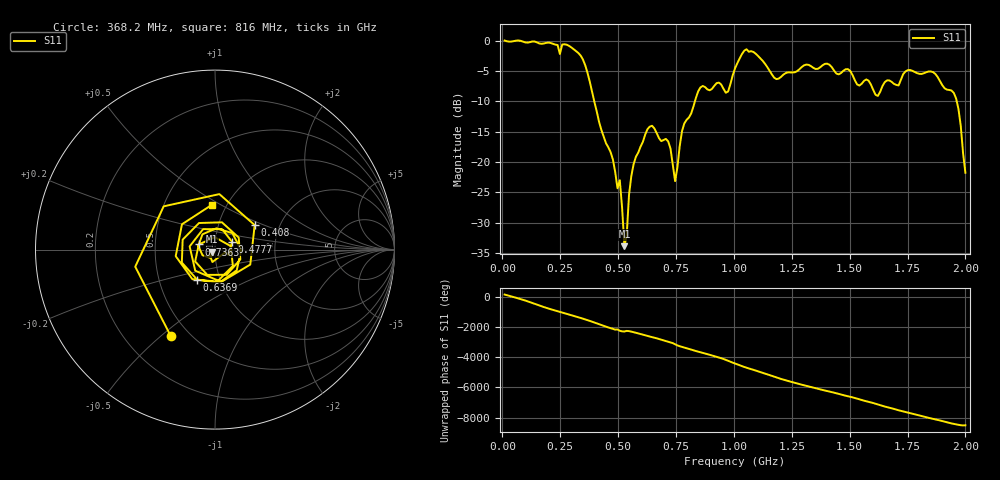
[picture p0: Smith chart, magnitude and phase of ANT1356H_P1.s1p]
!Created with skrf (http://scikit-rf.org).
# Hz S RI R 50.0
!freq ReS11 ImS11
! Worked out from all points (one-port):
!   201 points, 10 MHz to 2 GHz, reference 50 ohm
!   lowest |S11| = -33.9 dB at 527.4 MHz (marker M1), VSWR 1.04, Z = 48.3 - j1.05 ohm
!   |S11| at or under -10 dB: 397 MHz to 832.1 MHz (435.1 MHz wide, 70.8 % of centre); 1.963 GHz to end of sweep
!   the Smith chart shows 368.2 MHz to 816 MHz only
!   S11 on the Smith chart (normalised r, x): 368.2 MHz: 0.40, -0.54; 408 MHz: 1.49, +0.44; 477.6 MHz: 1.21, +0.11; 636.9 MHz: 0.78, -0.27; 736.4 MHz: 0.83, +0.05; 816 MHz: 0.86, +0.46
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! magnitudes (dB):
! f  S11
! 10 MHz  0.0
! 258.8 MHz  -0.7
! 368.2 MHz  -5.4
! 408 MHz  -11.7
! 477.6 MHz  -19.6
! 497.6 MHz  -24.4
! 507.5 MHz  -23.0
! 527.4 MHz  -33.9
! 567.2 MHz  -20.4
! 636.9 MHz  -14.2
! 716.5 MHz  -16.6
! 736.4 MHz  -20.5
! 746.3 MHz  -23.2
! 756.2 MHz  -20.9
! 776.1 MHz  -14.9
! 816 MHz  -12.0
! 855.8 MHz  -7.7
! 975.1 MHz  -8.4
! 1.005 GHz  -4.6
! 1.055 GHz  -1.4
! 1.184 GHz  -6.4
! 1.254 GHz  -5.3
! 1.502 GHz  -5.0
! 1.622 GHz  -9.1
! 1.751 GHz  -4.9
! 1.95 GHz  -8.7
! 1.97 GHz  -11.3
! 2 GHz  -21.8
